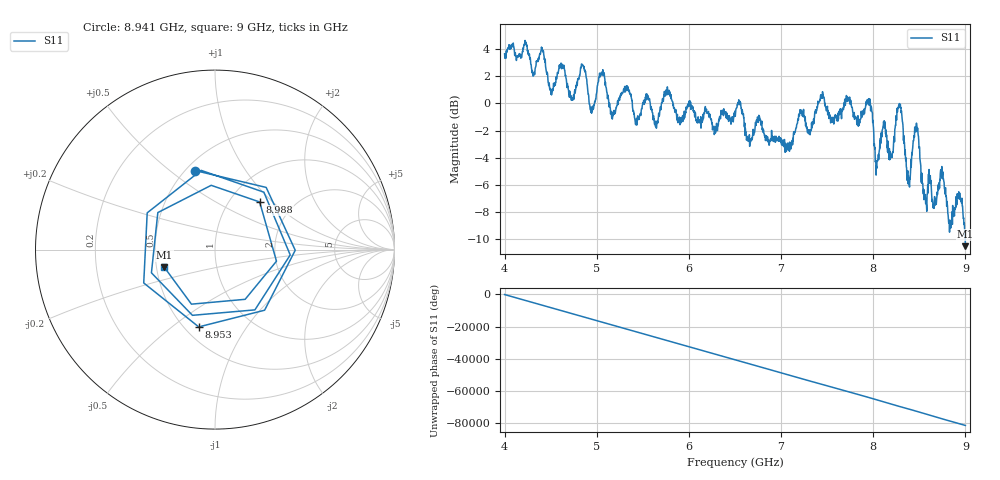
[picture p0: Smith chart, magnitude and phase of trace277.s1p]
! Created with skrf 1.8.0 (http://scikit-rf.org).
# Hz S RI R 50.0
!freq ReS11 ImS11
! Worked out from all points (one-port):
!   1601 points, 4 GHz to 9 GHz, reference 50 ohm
!   lowest |S11| = -10.5 dB at 9 GHz (marker M1), VSWR 1.85, Z = 27.6 - j6.03 ohm
!   |S11| at or under -10 dB: 8.998335 GHz to end of sweep
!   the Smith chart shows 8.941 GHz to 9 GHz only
!   S11 on the Smith chart (normalised r, x): 8.941 GHz: 0.55, +0.62; 8.953 GHz: 0.59, -0.63; 8.988 GHz: 1.37, +0.84; 9 GHz: 0.55, -0.12
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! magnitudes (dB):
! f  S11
! 4 GHz  3.6
! 4.403 GHz  4.0
! 4.503 GHz  0.7
! 4.625 GHz  2.9
! 4.728 GHz  0.4
! 4.856 GHz  2.7
! 4.944 GHz  -0.7
! 5.056 GHz  2.2
! 5.169 GHz  -1.2
! 5.25 GHz  0.4
! 5.875 GHz  -0.8
! 6.5 GHz  -0.6
! 7.125 GHz  -3.0
! 7.441 GHz  0.4
! 7.75 GHz  0.0
! 7.966 GHz  0.3
! 8.044 GHz  -4.2
! 8.112 GHz  -1.3
! 8.197 GHz  -3.8
! 8.284 GHz  0.0
! 8.375 GHz  -5.0
! 8.466 GHz  -1.6
! 8.562 GHz  -6.7
! 8.834 GHz  -8.6
! 8.941 GHz  -6.8
! 8.953 GHz  -7.1
! 8.988 GHz  -8.8
! 9 GHz  -10.5
